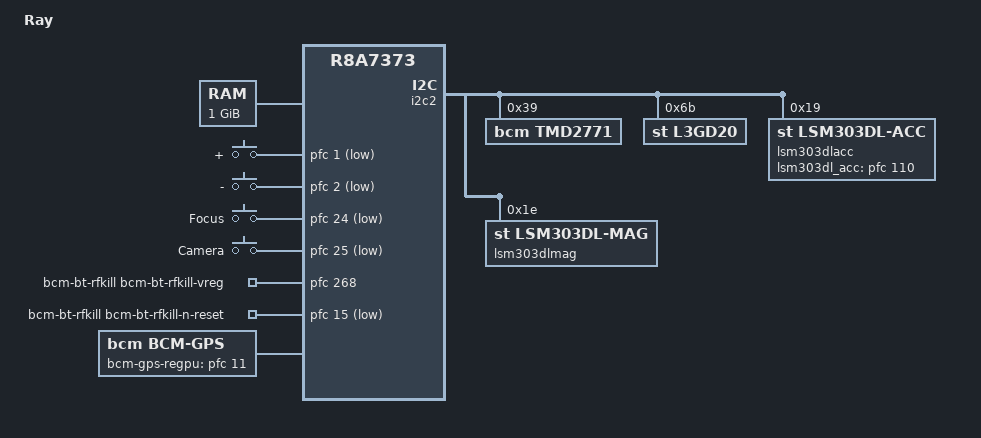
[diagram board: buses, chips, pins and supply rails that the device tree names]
/*
 * Device Tree Source for the r8a7373/r8a73a7 based Ray board
 *
 * Copyright (C) 2013 Renesas Mobile
 *
 * This file is licensed under the terms of the GNU General Public License
 * version 2.  This program is licensed "as is" without any warranty of any
 * kind, whether express or implied.
 */

#include "rmobile-common.dtsi"
#include <dt-bindings/gpio/gpio.h>
#include <dt-bindings/input/input.h>

/{
	model = "Ray";
	compatible = "renesas,ray", "renesas,r8a7373";

	chosen {
		bootargs = "console=ttySC0,115200 earlyprintk=sh-sci.0,115200 ignore_loglevel";
		linux,sysrq-reset-seq {
			keyset = <KEY_VOLUMEDOWN KEY_VOLUMEUP>;
			timeout-ms = <3000>;
		};
	};

	memory@40000000 {
		device_type = "memory";
		reg = <0x40000000 0x40000000>;
	};

	gpio-keys {
		compatible = "gpio-keys";
		#address-cells = <0>;
		#size-cells = <0>;
		pinctrl-names = "default";
		pinctrl-0 = <&key_pins>;

		volume-up {
			label = "+";
			gpios = <&pfc 1 GPIO_ACTIVE_LOW>;
			linux,code = <KEY_VOLUMEUP>;
			gpio-key,wakeup;
		};

		volume-down {
			label = "-";
			gpios = <&pfc 2 GPIO_ACTIVE_LOW>;
			linux,code = <KEY_VOLUMEDOWN>;
			gpio-key,wakeup;
		};

		focus {
			label = "Focus";
			gpios = <&pfc 24 GPIO_ACTIVE_LOW>;
			linux,code = <KEY_CAMERA_FOCUS>;
			gpio-key,wakeup;
		};

		camera {
			label = "Camera";
			gpios = <&pfc 25 GPIO_ACTIVE_LOW>;
			linux,code = <KEY_CAMERA>;
			gpio-key,wakeup;
		};
	};

	bcm-bt-rfkill {
		compatible = "bcm,bcm-bt-rfkill";
		bcm-bt-rfkill-vreg-gpio = <&pfc 268 GPIO_ACTIVE_HIGH>;
		bcm-bt-rfkill-n-reset-gpio = <&pfc 15 GPIO_ACTIVE_LOW>;
	};

	lsm303dl-input {
		compatible = "st,lsm303dl-input";
	};

	sound {
		compatible = "renesas,fsi-snd-d2153";
		renesas,fsia = <&sh_fsi>;
		renesas,fsib = <&sh_fsi2>;
		renesas,mclk-freq = <13000000>;
		jack-polarity;
		renesas,audio-routing =
			"RECCHL", "AIFOUTL",
			"RECCHR", "AIFOUTR",
			"AIFINL", "VCLK4",
			"AIFINR", "VCLK4",
			"AIFOUTL", "VCLK4",
			"AIFOUTR", "VCLK4",
			"Headphone Jack Left", "Headphone Left PGA",
			"Headphone Jack Right", "Headphone Right PGA",
			"Speaker", "Speaker PGA",
			"Earpiece", "Earpiece PGA";
	};

	bcm-gps {
		compatible = "bcm,bcm-gps";
		bcm-gps-hostwake = <&pfc 0 GPIO_ACTIVE_HIGH>;
		bcm-gps-regpu-gpio = <&pfc 11 GPIO_ACTIVE_HIGH>;
	};
};

&pfc {
	key_pins: keys {
		renesas,pins = "PORT1", "PORT2", "PORT24", "PORT25";
		bias-pull-up;
	};
};

&i2c2 {
	#address-cells = <1>;
	#size-cells = <0>;

	/* Proximity Sensor */
	tmd2771: tmd2771@0x39 {
		compatible = "bcm,tmd2771";
		reg = <0x39>;
		gpio-irq-pin = <108>;
		calibrate_target_param = <300000>;
		als_time_param = <200>;
		scale_factor_param = <1>;
		gain_trim_param = <512>;
		filter_history_param = <3>;
		filter_count_param = <1>;
		gain_param = <2>;
		prox_threshold_hi_param = <646>;
		prox_threshold_lo_param = <638>;
		als_threshold_hi_param = <1>;
		als_threshold_lo_param = <0>;
		prox_int_time_param = <238>;
		prox_adc_time_param = <255>;
		prox_wait_time_param = <238>;
		prox_intr_filter_param = <17>;
		prox_config_param = <0>;
		prox_pulse_cnt_param = <96>;
		prox_gain_param = <34>;
		prox_win_sw = <100>;
	};

	/* Gyroscope Sensor */
	l3gd20: l3gd20@6b {
		compatible = "st,l3gd20";
		/* slave address */
		reg = <0x6b>;
	};

	/* Accelerometer sensor */
	lsm303dlacc: lsm303dlacc@19 {
		compatible = "st,lsm303dl-acc";
		/* slave address */
		reg = <0x19>;
		lsm303dl_acc-gpio = <&pfc 110 GPIO_ACTIVE_HIGH>;
		orientation = /bits/ 8 <0x00 0x01 0x00
					0x01 0x00 0x00
					0x00 0x00 0x01>;
	};

	/* Magnetometer Sensor */
	lsm303dlmag: lsm303dlmag@1e {
		compatible = "st,lsm303dl-mag";
		/* slave address */
		reg = <0x1e>;
	};
};
